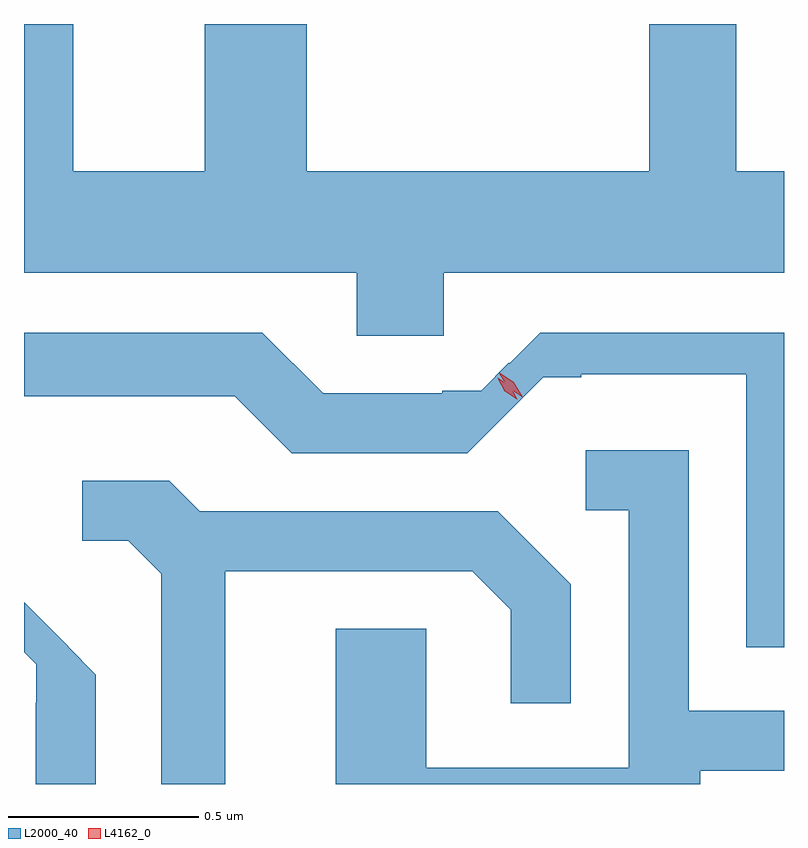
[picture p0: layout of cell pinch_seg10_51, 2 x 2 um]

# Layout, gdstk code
import gdstk
lib = gdstk.Library(unit=1e-6, precision=1e-09)
def P(c, l, *ps):  # polygons
    for p in ps: c.add(gdstk.Polygon(p, *l))
L2000_40 = (2000, 40)
L4162_0 = (4162, 0)

pinch_seg10_51 = lib.new_cell('pinch_seg10_51')
P(pinch_seg10_51, L2000_40, [(595.324,2176.076),(596.22,2176.076),(596.22,2176.344),(596.094,2176.344),(596.094,2176.731),(595.866,2176.731),(595.866,2176.344),(594.964,2176.344),(594.964,2176.731),(594.696,2176.731),(594.696,2176.344),(594.349,2176.344),(594.349,2176.731),(594.22,2176.731),(594.22,2176.076),(595.096,2176.076),(595.096,2175.911),(595.324,2175.911)],
  [(596.22,2175.919),(595.579,2175.919),(595.498,2175.838),(595.496,2175.839),(595.423,2175.766),(595.32,2175.766),(595.32,2175.759),(595.007,2175.759),(594.847,2175.919),(594.22,2175.919),(594.22,2175.751),(594.774,2175.751),(594.924,2175.601),(595.387,2175.601),(595.587,2175.801),(595.687,2175.801),(595.687,2175.809),(596.121,2175.809),(596.121,2175.091),(596.22,2175.091)],
  [(595.999,2174.766),(596.22,2174.766),(596.22,2174.924),(595.969,2174.924),(595.969,2175.609),(595.698,2175.609),(595.698,2175.451),(595.811,2175.451),(595.811,2174.774),(595.279,2174.774),(595.279,2175.139),(595.041,2175.139),(595.041,2174.731),(595.999,2174.731)],
  [(594.749,2175.291),(595.399,2175.291),(595.501,2175.189),(595.501,2174.943),(595.659,2174.943),(595.659,2175.257),(595.467,2175.449),(594.682,2175.449),(594.602,2175.529),(594.373,2175.529),(594.373,2175.371),(594.494,2175.371),(594.581,2175.284),(594.581,2174.731),(594.749,2174.731)],
  [(594.409,2175.019),(594.336,2175.092),(594.336,2175.093),(594.22,2175.209),(594.22,2175.078),(594.252,2175.046),(594.252,2174.945),(594.251,2174.945),(594.251,2174.731),(594.409,2174.731)])
P(pinch_seg10_51, L4162_0, [(595.532,2175.749),(595.494,2175.774),(595.471,2175.812),(595.471,2175.813),(595.472,2175.813),(595.509,2175.788),(595.532,2175.749),(595.532,2175.749)],
  [(595.517,2175.744),(595.485,2175.765),(595.467,2175.799),(595.467,2175.8),(595.467,2175.8),(595.5,2175.778),(595.518,2175.744),(595.518,2175.744)])

lib.write_gds('pinch_seg10_51.gds')
